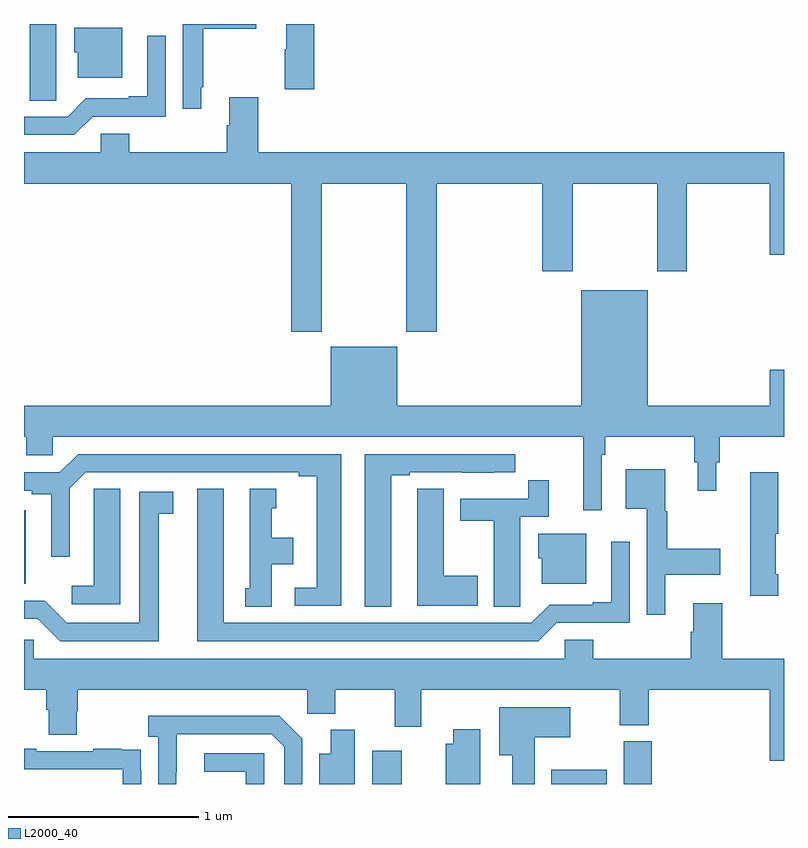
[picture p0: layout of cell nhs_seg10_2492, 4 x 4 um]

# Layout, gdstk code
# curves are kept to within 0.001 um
import gdstk
lib = gdstk.Library(unit=1e-6, precision=1e-09)
def R(c, l, rs):  # rectangles x0, y0, x1, y1
    for r in rs: c.add(gdstk.rectangle(r[:2], r[2:], *l))
def P(c, l, *ps):  # polygons
    for p in ps: c.add(gdstk.Polygon(p, *l))
L2000_40 = (2000, 40)

nhs_seg10_2492 = lib.new_cell('nhs_seg10_2492')
R(nhs_seg10_2492, L2000_40, [(246.833,1286.5,246.988,1286.674), (247.775,1286.5,248.068,1286.575), (248.156,1286.5,248.303,1286.724), (245,1287.554,245.008,1287.942)])
P(nhs_seg10_2492, L2000_40, [(246.527,1290.5),(246.38,1290.5),(246.38,1290.368),(246.373,1290.368),(246.373,1290.156),(246.527,1290.156)],
  [(245.932,1290.166),(245.944,1290.166),(245.944,1290.475),(246.223,1290.475),(246.223,1290.5),(245.835,1290.5),(245.835,1290.054),(245.932,1290.054)],
  [(245.169,1290.208),(245.17,1290.208),(245.17,1290.5),(245.03,1290.5),(245.03,1290.097),(245.169,1290.097)],
  [(245.518,1290.481),(245.264,1290.481),(245.264,1290.351),(245.282,1290.351),(245.282,1290.218),(245.518,1290.218)],
  [(245.361,1290.012),(245.745,1290.012),(245.745,1290.439),(245.648,1290.439),(245.648,1290.121),(245.552,1290.121),(245.552,1290.108),(245.325,1290.108),(245.229,1290.012),(245,1290.012),(245,1289.916),(245.265,1289.916)],
  [(246.567,1289.66),(247.012,1289.66),(247.012,1288.881),(247.172,1288.881),(247.172,1289.66),(247.727,1289.66),(247.727,1289.199),(247.887,1289.199),(247.887,1289.66),(248.332,1289.66),(248.332,1289.199),(248.487,1289.199),(248.487,1289.66),(248.924,1289.66),(248.924,1289.286),(249,1289.286),(249,1289.824),(246.233,1289.824),(246.233,1290.115),(246.08,1290.115),(246.08,1289.966),(246.068,1289.966),(246.068,1289.824),(245.555,1289.824),(245.555,1289.922),(245.403,1289.922),(245.403,1289.824),(245,1289.824),(245,1289.66),(246.407,1289.66),(246.407,1288.881),(246.567,1288.881)],
  [(248.04,1288.232),(248.06,1288.232),(248.06,1288.328),(248.527,1288.328),(248.527,1288.194),(248.546,1288.194),(248.546,1288.044),(248.644,1288.044),(248.644,1288.194),(248.663,1288.194),(248.663,1288.328),(249,1288.328),(249,1288.681),(248.924,1288.681),(248.924,1288.492),(248.284,1288.492),(248.284,1289.098),(247.934,1289.098),(247.934,1288.492),(246.964,1288.492),(246.964,1288.801),(246.614,1288.801),(246.614,1288.492),(245,1288.492),(245,1288.328),(245.013,1288.328),(245.013,1288.23),(245.151,1288.23),(245.151,1288.328),(247.943,1288.328),(247.943,1287.942),(248.04,1287.942)],
  [(246.67,1288.236),(245.285,1288.236),(245.189,1288.14),(245,1288.14),(245,1288.044),(245.04,1288.044),(245.04,1288.024),(245.144,1288.024),(245.144,1287.696),(245.241,1287.696),(245.241,1288.056),(245.325,1288.14),(246.446,1288.14),(246.446,1288.12),(246.542,1288.12),(246.542,1287.534),(246.426,1287.534),(246.426,1287.438),(246.67,1287.438)],
  [(246.934,1288.125),(247.03,1288.125),(247.03,1288.14),(247.306,1288.14),(247.306,1288.139),(247.472,1288.139),(247.472,1288.14),(247.585,1288.14),(247.585,1288.236),(246.794,1288.236),(246.794,1287.433),(246.934,1287.433)],
  [(248.374,1287.602),(248.665,1287.602),(248.665,1287.737),(248.386,1287.737),(248.386,1287.936),(248.374,1287.936),(248.374,1288.156),(248.168,1288.156),(248.168,1287.95),(248.277,1287.95),(248.277,1287.39),(248.374,1287.39)],
  [(248.969,1287.604),(248.956,1287.604),(248.956,1287.816),(248.969,1287.816),(248.969,1288.141),(248.822,1288.141),(248.822,1287.492),(248.969,1287.492)],
  [(247.611,1287.544),(247.612,1287.544),(247.612,1287.906),(247.763,1287.906),(247.763,1288.099),(247.654,1288.099),(247.654,1288.002),(247.295,1288.002),(247.295,1287.886),(247.472,1287.886),(247.472,1287.433),(247.611,1287.433)],
  [(247.387,1287.597),(247.21,1287.597),(247.21,1288.055),(247.071,1288.055),(247.071,1287.947),(247.07,1287.947),(247.07,1287.437),(247.387,1287.437)],
  [(245.506,1288.055),(245.367,1288.055),(245.367,1287.947),(245.366,1287.947),(245.366,1287.544),(245.25,1287.544),(245.25,1287.447),(245.506,1287.447)],
  [(246.304,1287.656),(246.418,1287.656),(246.418,1287.796),(246.304,1287.796),(246.304,1287.951),(246.328,1287.951),(246.328,1288.054),(246.188,1288.054),(246.188,1287.531),(246.164,1287.531),(246.164,1287.433),(246.304,1287.433)],
  [(247.803,1287.348),(248.187,1287.348),(248.187,1287.775),(248.09,1287.775),(248.09,1287.457),(247.994,1287.457),(247.994,1287.444),(247.767,1287.444),(247.671,1287.348),(246.052,1287.348),(246.052,1288.054),(245.912,1288.054),(245.912,1287.252),(247.707,1287.252)],
  [(245.71,1287.922),(245.785,1287.922),(245.785,1288.038),(245.606,1288.038),(245.606,1287.348),(245.226,1287.348),(245.109,1287.465),(245,1287.465),(245,1287.369),(245.073,1287.369),(245.19,1287.252),(245.71,1287.252)],
  [(247.96,1287.817),(247.706,1287.817),(247.706,1287.687),(247.724,1287.687),(247.724,1287.554),(247.96,1287.554)],
  [(249,1287.16),(248.675,1287.16),(248.675,1287.451),(248.522,1287.451),(248.522,1287.302),(248.51,1287.302),(248.51,1287.16),(247.997,1287.16),(247.997,1287.258),(247.845,1287.258),(247.845,1287.16),(245.052,1287.16),(245.052,1287.258),(245,1287.258),(245,1286.996),(245.117,1286.996),(245.117,1286.89),(245.129,1286.89),(245.129,1286.758),(245.277,1286.758),(245.277,1286.883),(245.282,1286.883),(245.282,1286.996),(246.492,1286.996),(246.492,1286.87),(246.639,1286.87),(246.639,1286.996),(246.95,1286.996),(246.95,1286.802),(247.09,1286.802),(247.09,1286.996),(248.135,1286.996),(248.135,1286.809),(248.288,1286.809),(248.288,1286.996),(248.924,1286.996),(248.924,1286.622),(249,1286.622)],
  [(247.687,1286.747),(247.876,1286.747),(247.876,1286.905),(247.502,1286.905),(247.502,1286.651),(247.571,1286.651),(247.571,1286.5),(247.687,1286.5)],
  [(245.802,1286.563),(245.803,1286.763),(246.303,1286.763),(246.369,1286.697),(246.369,1286.5),(246.465,1286.5),(246.465,1286.739),(246.344,1286.86),(245.655,1286.86),(245.655,1286.75),(245.706,1286.75),(245.706,1286.5),(245.802,1286.5)],
  [(247.402,1286.788),(247.259,1286.788),(247.259,1286.713),(247.22,1286.713),(247.22,1286.5),(247.402,1286.5)],
  [(246.741,1286.785),(246.614,1286.785),(246.614,1286.659),(246.554,1286.659),(246.554,1286.5),(246.741,1286.5)],
  [(245.616,1286.57),(245.615,1286.57),(245.615,1286.679),(245.513,1286.679),(245.513,1286.686),(245.365,1286.686),(245.365,1286.673),(245.065,1286.673),(245.065,1286.686),(245,1286.686),(245,1286.577),(245.52,1286.577),(245.52,1286.5),(245.616,1286.5)],
  [(246.264,1286.661),(245.949,1286.661),(245.949,1286.565),(246.168,1286.565),(246.168,1286.5),(246.264,1286.5)])

lib.write_gds('nhs_seg10_2492.gds')
